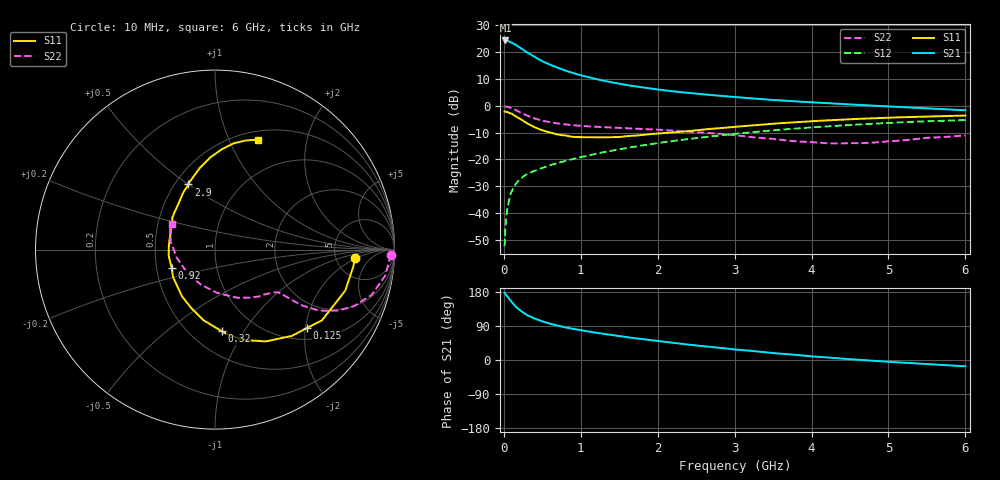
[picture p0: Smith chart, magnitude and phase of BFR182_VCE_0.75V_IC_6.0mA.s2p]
! Infineon Technologies  Discrete & RF Semiconductors
! BFR182
! VCE = 0.75 V,  IC =  6.0 mA
! Common Emitter S-Parameters:  Nov 2015
# GHz  S  MA  R  50
!  f  S11  S21  S12  S22
! GHz  MAG  ANG  MAG  ANG  MAG  ANG  MAG  ANG
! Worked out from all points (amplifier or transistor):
!   210 points, 10 MHz to 6 GHz, reference 50 ohm
!   highest |S21| = 24.4 dB at 20 MHz (marker M1)
!   |S21| within 3 dB of that: start of sweep to 225.5 MHz
!   unconditionally stable (mu >= 1): 855.4 MHz to 3.198 GHz
!   at 185 MHz: K = 0.39, MSG = 25.2 dB, |S12| = -28.1 dB
!   at 1.52 GHz: K = 1.09, MAG = 10.3 dB, |S12| = -16.1 dB
!   at 6 GHz: K = 0.94, MSG = 1.8 dB, |S12| = -5.3 dB
!   S11 on the Smith chart (normalised r, x): 10 MHz: 7.63, -1.92; 125 MHz: 1.27, -2.03; 320 MHz: 0.70, -0.80; 920 MHz: 0.60, -0.13; 2.9 GHz: 0.58, +0.50; 6 GHz: 0.59, +1.28
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0.01  0.7808 -3.6  16.47 177.4  0.0024 87.0  0.9812 -1.7
0.02  0.7767 -6.9  16.56 174.2  0.0053 83.6  0.9731 -3.5
0.05  0.761 -17.5  16.3 166.1  0.013 81.3  0.9601 -8.6
0.1  0.7143 -33.5  15.19 153.5  0.025 74.6  0.9086 -16.1
0.125  0.6731 -40.6  14.45 147.7  0.0294 70.5  0.8711 -19.0
0.15  0.6433 -48.4  13.87 141.4  0.0339 67.5  0.836 -22.1
0.2  0.5848 -61.0  12.44 132.7  0.0415 64.0  0.7677 -26.2
0.26  0.5166 -74.2  10.85 123.8  0.0485 60.4  0.6995 -29.2
0.3  0.4729 -82.5  9.967 118.6  0.0527 59.5  0.6583 -30.7
0.32  0.4553 -85.4  9.585 117.0  0.0544 59.2  0.6424 -31.0
0.4  0.3988 -99.3  8.146 109.3  0.0613 58.1  0.5792 -32.6
0.5  0.3493 -112.8  6.772 101.8  0.0691 58.0  0.5275 -33.1
0.7  0.2909 -137.1  5.118 90.5  0.085 58.8  0.4676 -33.5
0.92  0.2617 -157.4  3.994 81.5  0.1035 59.7  0.4314 -33.9
1.02  0.2592 -166.1  3.646 78.0  0.1118 60.1  0.4208 -34.6
1.4  0.2596 167.6  2.736 66.0  0.145 60.0  0.393 -38.1
2.02  0.3047 138.5  1.996 49.7  0.2031 57.2  0.3574 -46.9
2.9  0.3926 112.3  1.497 30.1  0.2889 50.0  0.2912 -66.2
3.1  0.4159 107.9  1.419 26.2  0.3086 47.9  0.2719 -72.2
4.1  0.5247 91.2  1.139 8.3  0.4038 36.5  0.2043 -117.7
5.1  0.6064 78.9  0.958 -6.0  0.487 23.9  0.2213 -173.0
6  0.6576 68.8  0.825 -16.6  0.5412 11.6  0.2805 149.7
